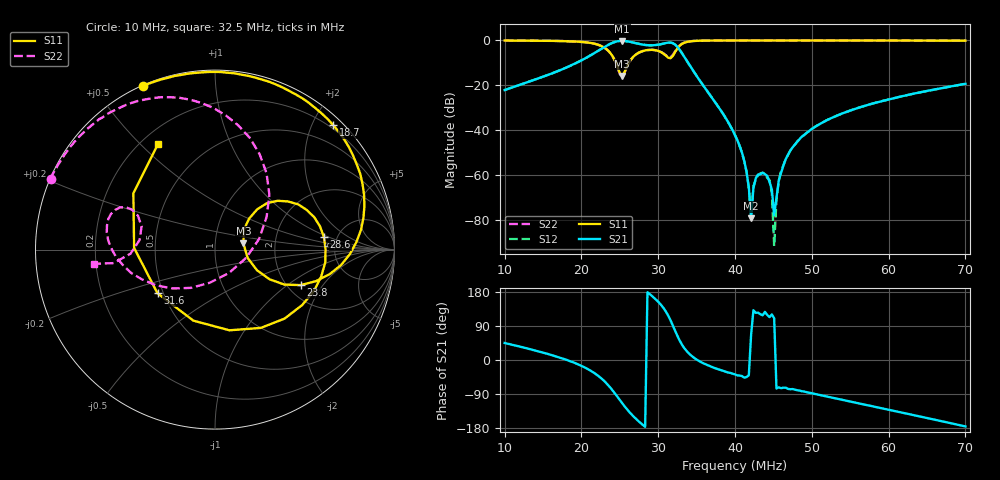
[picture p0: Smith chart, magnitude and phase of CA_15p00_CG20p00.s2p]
#  HZ  S  RI  R  50.00
! Rohde & Schwarz ZVT8 8Ports - Version 4.11 - 1300.0000k08 SN: 100242
! Date: 2026-07-31 14:21:41
! Measurements: S11 S21 S12 S22
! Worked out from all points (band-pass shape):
!   201 points, 10 MHz to 70 MHz, reference 50 ohm
!   highest |S21| = -0.17 dB at 25.3 MHz (marker M1); lowest = -79.2 dB at 42.1 MHz (marker M2)
!   |S21| within 3 dB of the highest: 22.87 MHz to 32.57 MHz (9.704 MHz wide, 35 % of centre)
!   lowest |S11| = -15.8 dB at 25.3 MHz (marker M3), VSWR 1.39, Z = 68.6 + j4.81 ohm
!   |S11| at or under -10 dB: 24.5 MHz to 26.16 MHz (1.667 MHz wide, 6.58 % of centre)
!   |S22| runs from -16.4 to 0.0 dB; largest |S21 - S12| = 0.0032
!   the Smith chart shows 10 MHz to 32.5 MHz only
!   S11 on the Smith chart (normalised r, x): 10 MHz: 0.00, +0.65; 18.7 MHz: 0.14, +2.32; 23.8 MHz: 2.34, -1.26; 28.6 MHz: 3.94, +0.86; 31.6 MHz: 0.46, -0.27; 32.5 MHz: 0.27, +0.56
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1e7  -0.3996 0.9123  0.0555 0.0555  0.0556 0.0555  -0.9153 0.3936
1.87e7  0.6585 0.6936  0.28 -0.0211  0.279 -0.0218  -0.5534 0.7798
2.02e7  0.7894 0.4755  0.3581 -0.1117  0.3576 -0.1113  -0.3899 0.8362
2.38e7  0.4766 -0.1977  0.2378 -0.8149  0.2375 -0.8149  0.2871 0.4257
2.53e7  0.1582 0.0342  -0.3957 -0.8972  -0.3932 -0.8963  0.0779 -0.1303
2.86e7  0.6071 0.0685  -0.7845 0.0176  -0.7858 0.018  -0.6028 0.0965
3.01e7  0.4854 -0.3092  -0.7114 0.3859  -0.7116 0.3841  -0.5289 0.2352
3.16e7  -0.3203 -0.2434  -0.2333 0.8654  -0.2333 0.8658  -0.42 0.0539
3.25e7  -0.3187 0.5862  0.3199 0.6463  0.3201 0.6464  -0.676 -0.0797
3.49e7  0.8778 0.4337  0.1723 0.00762  0.1714 0.00741  -0.9086 0.3687
4e7  0.8458 -0.5281  0.00614 -0.00479  0.00619 -0.00476  -0.699 0.7134
4.15e7  0.718 -0.6927  0.000832 -0.000835  0.000928 -0.000814  -0.6391 0.7658
4.21e7  0.6601 -0.749  4.2e-05 0.000102  -5e-05 0.000116  -0.617 0.7845
4.27e7  0.5985 -0.7974  -0.000481 0.000699  -0.000461 0.000642  -0.5941 0.8026
4.36e7  0.5033 -0.8615  -0.000531 0.000998  -0.000659 0.000924  -0.5605 0.8266
4.45e7  0.4018 -0.913  -0.000277 0.000648  -0.000367 0.000682  -0.5265 0.8476
4.51e7  0.3348 -0.9404  -4.44e-05 0.000119  2.18e-05 1.45e-05  -0.5045 0.8615
4.57e7  0.2643 -0.9624  0.000236 -0.000728  0.000289 -0.000681  -0.4814 0.874
4.66e7  0.1578 -0.9864  0.000662 -0.00217  0.000694 -0.00216  -0.4469 0.8918
5.02e7  -0.2595 -0.9644  0.000248 -0.0112  0.000295 -0.0113  -0.3131 0.9467
6.01e7  -0.9783 -0.1824  -0.0326 -0.0367  -0.0326 -0.0367  0.0647 0.9938
7e7  -0.5829 0.8011  -0.108 -0.00886  -0.1078 -0.0088  0.4422 0.8876
